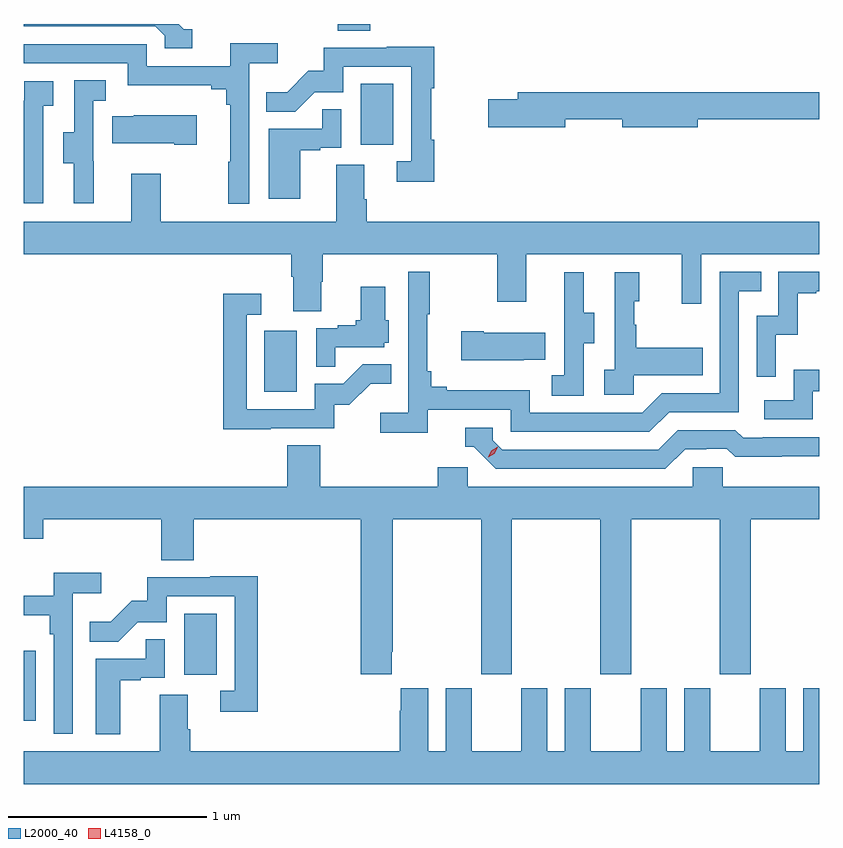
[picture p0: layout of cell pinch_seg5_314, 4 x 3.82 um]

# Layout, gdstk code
import gdstk
lib = gdstk.Library(unit=1e-6, precision=1e-09)
def R(c, l, rs):  # rectangles x0, y0, x1, y1
    for r in rs: c.add(gdstk.rectangle(r[:2], r[2:], *l))
def P(c, l, *ps):  # polygons
    for p in ps: c.add(gdstk.Polygon(p, *l))
L2000_40 = (2000, 40)
L4158_0 = (4158, 0)

pinch_seg5_314 = lib.new_cell('pinch_seg5_314')
R(pinch_seg5_314, L2000_40, [(936.005,891.711,936.064,892.063), (936.812,891.942,936.976,892.249), (937.214,893.364,937.378,893.671), (937.7,894.606,937.864,894.913), (937.583,895.18,937.748,895.214)])
P(pinch_seg5_314, L2000_40, [(936.853,895.188),(936.81,895.188),(936.784,895.214),(936.005,895.214),(936.005,895.203),(936.666,895.203),(936.714,895.155),(936.714,895.092),(936.853,895.092)],
  [(937.14,895.016),(937.282,895.016),(937.282,895.118),(937.043,895.118),(937.043,895.002),(936.624,895.002),(936.624,895.113),(936.005,895.113),(936.005,895.017),(936.528,895.017),(936.528,894.905),(936.947,894.905),(936.947,894.886),(937.024,894.886),(937.024,894.809),(937.043,894.809),(937.043,894.521),(937.032,894.521),(937.032,894.309),(937.14,894.309)],
  [(938.069,894.632),(938.054,894.632),(938.054,894.892),(938.069,894.892),(938.069,895.1),(937.831,895.1),(937.831,895.095),(937.513,895.095),(937.513,894.978),(937.436,894.978),(937.329,894.871),(937.225,894.871),(937.225,894.772),(937.369,894.772),(937.467,894.87),(937.611,894.87),(937.611,894.999),(937.953,894.999),(937.953,894.525),(937.881,894.525),(937.881,894.42),(938.069,894.42)],
  [(936.356,894.525),(936.354,894.525),(936.354,894.829),(936.418,894.829),(936.418,894.932),(936.258,894.932),(936.258,894.669),(936.203,894.669),(936.203,894.514),(936.257,894.514),(936.257,894.312),(936.356,894.312)],
  [(936.102,894.803),(936.154,894.803),(936.154,894.927),(936.006,894.927),(936.006,894.829),(936.005,894.829),(936.005,894.312),(936.102,894.312)],
  [(938.728,894.736),(939.014,894.736),(939.014,894.694),(939.394,894.694),(939.394,894.736),(940.005,894.736),(940.005,894.872),(938.489,894.872),(938.489,894.836),(938.34,894.836),(938.34,894.694),(938.728,894.694)],
  [(937.396,894.579),(937.496,894.579),(937.496,894.591),(937.602,894.591),(937.602,894.785),(937.507,894.785),(937.507,894.687),(937.238,894.687),(937.238,894.336),(937.396,894.336)],
  [(936.874,894.754),(936.559,894.754),(936.559,894.751),(936.451,894.751),(936.451,894.614),(936.761,894.614),(936.761,894.607),(936.874,894.607)],
  [(937.501,893.919),(937.509,893.919),(937.509,894.056),(938.386,894.056),(938.386,893.817),(938.533,893.817),(938.533,894.056),(939.314,894.056),(939.314,893.808),(939.411,893.808),(939.411,894.056),(940.005,894.056),(940.005,894.22),(937.73,894.22),(937.73,894.332),(937.717,894.332),(937.717,894.506),(937.577,894.506),(937.577,894.22),(936.693,894.22),(936.693,894.46),(936.545,894.46),(936.545,894.22),(936.005,894.22),(936.005,894.056),(937.349,894.056),(937.349,893.944),(937.361,893.944),(937.361,893.77),(937.501,893.77)],
  [(938.036,893.274),(938.454,893.274),(938.454,893.163),(939.151,893.163),(939.25,893.262),(939.6,893.262),(939.6,893.871),(939.713,893.871),(939.713,893.967),(939.504,893.967),(939.504,893.358),(939.213,893.358),(939.114,893.259),(938.55,893.259),(938.55,893.371),(938.131,893.371),(938.131,893.39),(938.054,893.39),(938.054,893.467),(938.035,893.467),(938.035,893.755),(938.047,893.755),(938.047,893.968),(937.938,893.968),(937.938,893.26),(937.797,893.26),(937.797,893.158),(938.036,893.158)],
  [(939.786,893.651),(939.896,893.651),(939.896,893.859),(939.991,893.859),(939.991,893.871),(940.005,893.871),(940.005,893.967),(939.798,893.967),(939.798,893.748),(939.69,893.748),(939.69,893.439),(939.786,893.439)],
  [(938.82,893.608),(938.875,893.608),(938.875,893.763),(938.821,893.763),(938.821,893.965),(938.723,893.965),(938.723,893.751),(938.724,893.751),(938.724,893.447),(938.661,893.447),(938.661,893.344),(938.82,893.344)],
  [(939.072,893.447),(939.419,893.447),(939.419,893.587),(939.085,893.587),(939.085,893.702),(939.075,893.702),(939.075,893.82),(939.1,893.82),(939.1,893.965),(938.976,893.965),(938.976,893.474),(938.925,893.474),(938.925,893.349),(939.072,893.349)],
  [(937.571,893.589),(937.818,893.589),(937.818,893.61),(937.84,893.61),(937.84,893.724),(937.822,893.724),(937.822,893.893),(937.7,893.893),(937.7,893.724),(937.675,893.724),(937.675,893.698),(937.583,893.698),(937.583,893.685),(937.476,893.685),(937.476,893.491),(937.571,893.491)],
  [(937.247,893.181),(937.566,893.181),(937.566,893.298),(937.642,893.298),(937.749,893.405),(937.853,893.405),(937.853,893.504),(937.709,893.504),(937.611,893.406),(937.467,893.406),(937.467,893.277),(937.125,893.277),(937.125,893.751),(937.198,893.751),(937.198,893.857),(937.009,893.857),(937.009,893.176),(937.247,893.176)],
  [(938.519,893.525),(938.627,893.525),(938.627,893.662),(938.317,893.662),(938.317,893.67),(938.205,893.67),(938.205,893.522),(938.519,893.522)],
  [(939.972,893.367),(940.005,893.367),(940.005,893.476),(939.876,893.476),(939.876,893.322),(939.729,893.322),(939.729,893.226),(939.972,893.226)],
  [(939.331,893.076),(939.438,893.076),(939.438,893.079),(939.541,893.079),(939.583,893.037),(939.816,893.037),(939.816,893.039),(940.005,893.039),(940.005,893.136),(939.721,893.136),(939.721,893.133),(939.622,893.133),(939.583,893.172),(939.294,893.172),(939.195,893.073),(938.412,893.073),(938.364,893.121),(938.364,893.184),(938.225,893.184),(938.225,893.088),(938.268,893.088),(938.379,892.977),(939.232,892.977)],
  [(937.855,892.057),(937.86,892.057),(937.86,892.724),(938.305,892.724),(938.305,891.945),(938.46,891.945),(938.46,892.724),(938.905,892.724),(938.905,891.945),(939.06,891.945),(939.06,892.724),(939.505,892.724),(939.505,891.945),(939.66,891.945),(939.66,892.724),(940.005,892.724),(940.005,892.888),(939.519,892.888),(939.519,892.986),(939.369,892.986),(939.369,892.888),(938.238,892.888),(938.238,892.986),(938.087,892.986),(938.087,892.888),(937.496,892.888),(937.496,893.096),(937.331,893.096),(937.331,892.888),(936.005,892.888),(936.005,892.626),(936.104,892.626),(936.104,892.724),(936.695,892.724),(936.695,892.516),(936.86,892.516),(936.86,892.724),(937.7,892.724),(937.7,891.945),(937.855,891.945)],
  [(936.252,892.352),(936.394,892.352),(936.394,892.454),(936.155,892.454),(936.155,892.338),(936.005,892.338),(936.005,892.241),(936.136,892.241),(936.136,892.145),(936.156,892.145),(936.156,891.645),(936.252,891.645)],
  [(937.181,892.436),(936.943,892.436),(936.943,892.431),(936.625,892.431),(936.625,892.314),(936.548,892.314),(936.441,892.207),(936.337,892.207),(936.337,892.108),(936.48,892.108),(936.578,892.206),(936.723,892.206),(936.723,892.335),(937.065,892.335),(937.065,891.861),(936.993,891.861),(936.993,891.756),(937.181,891.756)],
  [(936.49,891.915),(936.593,891.915),(936.593,891.927),(936.714,891.927),(936.714,892.121),(936.619,892.121),(936.619,892.023),(936.368,892.023),(936.368,891.641),(936.49,891.641)],
  [(940.005,891.874),(939.926,891.874),(939.926,891.556),(939.838,891.556),(939.838,891.874),(939.707,891.874),(939.707,891.556),(939.457,891.556),(939.457,891.874),(939.326,891.874),(939.326,891.556),(939.238,891.556),(939.238,891.874),(939.107,891.874),(939.107,891.556),(938.857,891.556),(938.857,891.874),(938.726,891.874),(938.726,891.556),(938.638,891.556),(938.638,891.874),(938.507,891.874),(938.507,891.556),(938.257,891.556),(938.257,891.874),(938.126,891.874),(938.126,891.556),(938.038,891.556),(938.038,891.874),(937.901,891.874),(937.901,891.761),(937.895,891.761),(937.895,891.556),(936.842,891.556),(936.842,891.668),(936.829,891.668),(936.829,891.842),(936.689,891.842),(936.689,891.556),(936.005,891.556),(936.005,891.392),(940.005,891.392)])
P(pinch_seg5_314, L4158_0, [(938.341,893.035),(938.341,893.035),(938.357,893.067),(938.388,893.087),(938.388,893.087),(938.388,893.086),(938.372,893.054),(938.341,893.035)])

lib.write_gds('pinch_seg5_314.gds')
